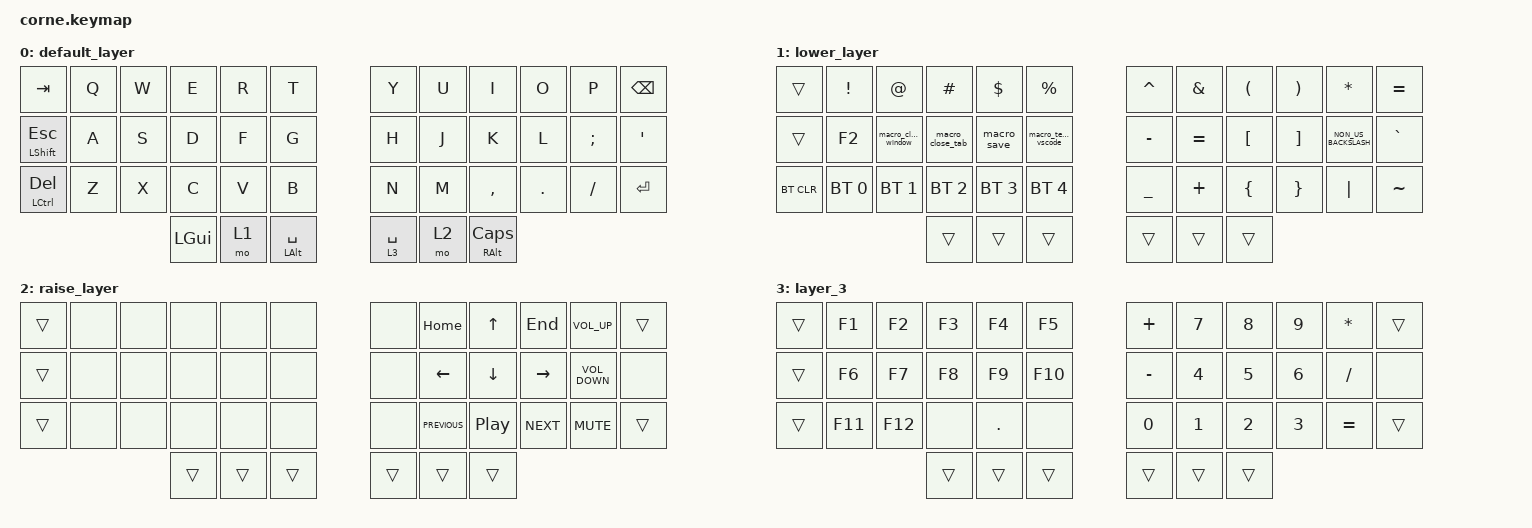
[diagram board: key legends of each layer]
/*
 * Copyright (c) 2020 The ZMK Contributors
 *
 * SPDX-License-Identifier: MIT
 */

#include <behaviors.dtsi>
#include <dt-bindings/zmk/bt.h>
#include <dt-bindings/zmk/keys.h>

/ {
    macros {
        macro_close_window: macro_close_window {
            compatible = "zmk,behavior-macro";
            #binding-cells = <0>;
            bindings =
                <&macro_press>,
                <&kp LEFT_ALT &kp F4>,
                <&macro_release>,
                <&kp LEFT_ALT &kp F4>;

            label = "MACRO_CLOSE_WINDOW";
        };

        macro_close_tab: macro_close_tab {
            compatible = "zmk,behavior-macro";
            #binding-cells = <0>;
            bindings =
                <&macro_press>,
                <&kp LEFT_CONTROL &kp F4>,
                <&macro_release>,
                <&kp LEFT_CONTROL &kp F4>;

            label = "MACRO_CLOSE_TAB";
        };

        macro_save: macro_save {
            compatible = "zmk,behavior-macro";
            #binding-cells = <0>;
            bindings =
                <&macro_press>,
                <&kp LEFT_CONTROL &kp S>,
                <&macro_release>,
                <&kp LEFT_CONTROL &kp S>;

            label = "MACRO_SAVE";
        };

        macro_terminal_vscode: macro_terminal_vscode {
            compatible = "zmk,behavior-macro";
            #binding-cells = <0>;
            bindings =
                <&macro_press>,
                <&kp LEFT_CONTROL &kp GRAVE>,
                <&macro_release>,
                <&kp LEFT_CONTROL &kp GRAVE>;

            label = "MACRO_TERMINAL_VSCODE";
        };
    };

    keymap {
        compatible = "zmk,keymap";

        default_layer {
            // -----------------------------------------------------------------------------------------
            // |  TAB |  Q  |  W  |  E  |  R  |  T  |   |  Y  |  U   |  I  |  O  |  P  | BKSP |
            // | CTRL |  A  |  S  |  D  |  F  |  G  |   |  H  |  J   |  K  |  L  |  ;  |  '   |
            // | SHFT |  Z  |  X  |  C  |  V  |  B  |   |  N  |  M   |  ,  |  .  |  /  | ESC  |
            //                    | GUI | LWR | SPC |   | ENT | RSE  | ALT |

            bindings = <
&kp TAB                  &kp Q  &kp W  &kp E     &kp R  &kp T                 &kp Y        &kp U  &kp I              &kp O    &kp P     &kp BSPC
&mt LEFT_SHIFT ESCAPE    &kp A  &kp S  &kp D     &kp F  &kp G                 &kp H        &kp J  &kp K              &kp L    &kp SEMI  &kp SQT
&mt LEFT_CONTROL DELETE  &kp Z  &kp X  &kp C     &kp V  &kp B                 &kp N        &kp M  &kp COMMA          &kp DOT  &kp FSLH  &kp ENTER
                                       &kp LGUI  &mo 1  &mt LEFT_ALT SPACE    &lt 3 SPACE  &mo 2  &mt RALT CAPSLOCK
            >;
        };

        lower_layer {
            // -----------------------------------------------------------------------------------------
            // |  TAB |  1  |  2  |  3  |  4  |  5  |   |  6  |  7  |  8  |  9  |  0  | BKSP |
            // | BTCLR| BT1 | BT2 | BT3 | BT4 | BT5 |   | LFT | DWN |  UP | RGT |     |      |
            // | SHFT |     |     |     |     |     |   |     |     |     |     |     |      |
            //                    | GUI |     | SPC |   | ENT |     | ALT |

            bindings = <
&trans      &kp EXCLAMATION  &kp AT_SIGN          &kp HASH          &kp DOLLAR    &kp PERCENT               &kp CARET       &kp AMPERSAND  &kp LEFT_PARENTHESIS  &kp RIGHT_PARENTHESIS  &kp ASTERISK          &kp EQUAL
&trans      &kp F2           &macro_close_window  &macro_close_tab  &macro_save   &macro_terminal_vscode    &kp MINUS       &kp EQUAL      &kp LEFT_BRACKET      &kp RIGHT_BRACKET      &kp NON_US_BACKSLASH  &kp GRAVE
&bt BT_CLR  &bt BT_SEL 0     &bt BT_SEL 1         &bt BT_SEL 2      &bt BT_SEL 3  &bt BT_SEL 4              &kp UNDERSCORE  &kp PLUS       &kp LEFT_BRACE        &kp RIGHT_BRACE        &kp PIPE              &kp TILDE
                                                  &trans            &trans        &trans                    &trans          &trans         &trans
            >;
        };

        raise_layer {
            // -----------------------------------------------------------------------------------------
            // |  TAB |  !  |  @  |  #  |  $  |  %  |   |  ^  |  &  |  *  |  (  |  )  | BKSP |
            // | CTRL |     |     |     |     |     |   |  -  |  =  |  [  |  ]  |  \  |  `   |
            // | SHFT |     |     |     |     |     |   |  _  |  +  |  {  |  }  | "|" |  ~   |
            //                    | GUI |     | SPC |   | ENT |     | ALT |

            bindings = <
&trans  &none  &none  &none   &none   &none     &none   &kp HOME        &kp UP            &kp END     &kp C_VOLUME_UP    &trans
&trans  &none  &none  &none   &none   &none     &none   &kp LEFT        &kp DOWN          &kp RIGHT   &kp C_VOLUME_DOWN  &none
&trans  &none  &none  &none   &none   &none     &none   &kp C_PREVIOUS  &kp C_PLAY_PAUSE  &kp C_NEXT  &kp C_MUTE         &trans
                      &trans  &trans  &trans    &trans  &trans          &trans
            >;
        };

        layer_3 {
            bindings = <
&trans  &kp F1   &kp F2   &kp F3  &kp F4      &kp F5     &kp PLUS      &kp NUMBER_7  &kp NUMBER_8  &kp NUMBER_9  &kp ASTERISK  &trans
&trans  &kp F6   &kp F7   &kp F8  &kp F9      &kp F10    &kp MINUS     &kp NUMBER_4  &kp NUMBER_5  &kp NUMBER_6  &kp SLASH     &none
&trans  &kp F11  &kp F12  &none   &kp PERIOD  &none      &kp NUMBER_0  &kp NUMBER_1  &kp NUMBER_2  &kp NUMBER_3  &kp EQUAL     &trans
                          &trans  &trans      &trans     &trans        &trans        &trans
            >;
        };
    };
};
